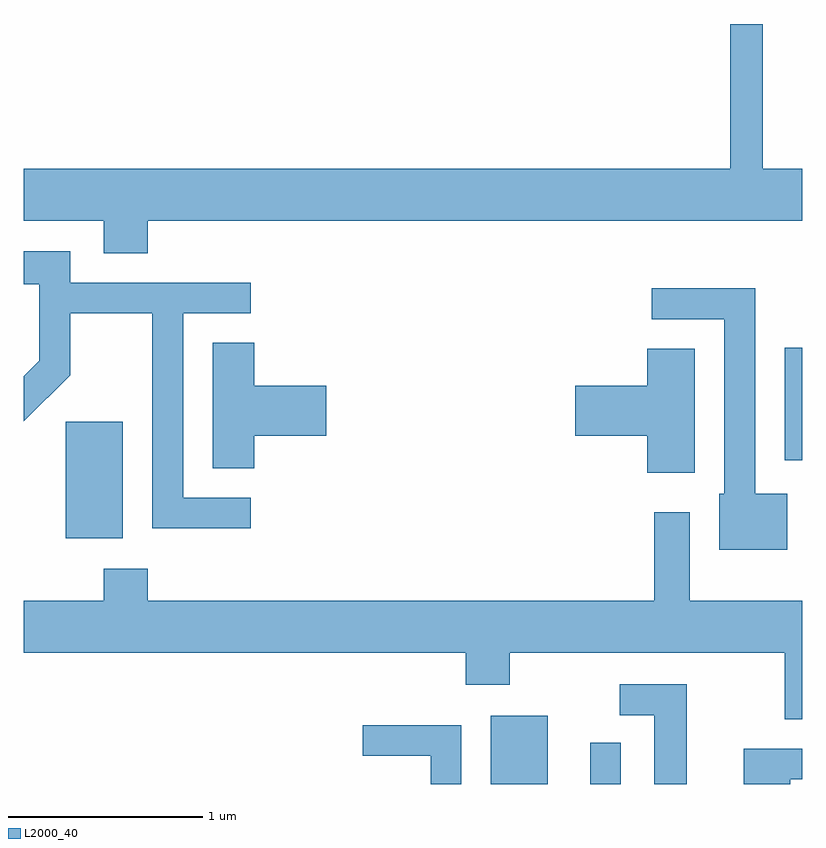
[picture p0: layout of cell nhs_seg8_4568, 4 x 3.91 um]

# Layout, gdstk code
import gdstk
lib = gdstk.Library(unit=1e-6, precision=1e-09)
def R(c, l, rs):  # rectangles x0, y0, x1, y1
    for r in rs: c.add(gdstk.rectangle(r[:2], r[2:], *l))
def P(c, l, *ps):  # polygons
    for p in ps: c.add(gdstk.Polygon(p, *l))
L2000_40 = (2000, 40)

nhs_seg8_4568 = lib.new_cell('nhs_seg8_4568')
R(nhs_seg8_4568, L2000_40, [(324.011,1902.342,324.304,1902.694), (324.521,1902.342,324.679,1902.553), (321.826,1903.606,322.119,1904.204), (325.521,1904.006,325.611,1904.584)])
P(nhs_seg8_4568, L2000_40, [(322.249,1905.236),(325.611,1905.236),(325.611,1905.504),(325.409,1905.504),(325.409,1906.248),(325.241,1906.248),(325.241,1905.504),(321.611,1905.504),(321.611,1905.236),(322.021,1905.236),(322.021,1905.071),(322.249,1905.071)],
  [(322.778,1903.814),(322.429,1903.814),(322.429,1904.761),(322.778,1904.761),(322.778,1904.919),(321.849,1904.919),(321.849,1905.079),(321.611,1905.079),(321.611,1904.911),(321.691,1904.911),(321.691,1904.517),(321.611,1904.437),(321.611,1904.206),(321.849,1904.444),(321.849,1904.761),(322.271,1904.761),(322.271,1903.656),(322.778,1903.656)],
  [(325.534,1903.834),(325.369,1903.834),(325.369,1904.889),(324.838,1904.889),(324.838,1904.731),(325.211,1904.731),(325.211,1903.834),(325.186,1903.834),(325.186,1903.546),(325.534,1903.546)],
  [(322.794,1904.131),(323.164,1904.131),(323.164,1904.389),(322.794,1904.389),(322.794,1904.609),(322.581,1904.609),(322.581,1903.966),(322.794,1903.966)],
  [(325.059,1904.579),(324.816,1904.579),(324.816,1904.389),(324.446,1904.389),(324.446,1904.131),(324.816,1904.131),(324.816,1903.941),(325.059,1903.941)],
  [(325.611,1903.284),(325.034,1903.284),(325.034,1903.739),(324.851,1903.739),(324.851,1903.284),(322.249,1903.284),(322.249,1903.449),(322.021,1903.449),(322.021,1903.284),(321.611,1903.284),(321.611,1903.016),(323.881,1903.016),(323.881,1902.851),(324.109,1902.851),(324.109,1903.016),(325.521,1903.016),(325.521,1902.676),(325.611,1902.676)],
  [(325.019,1902.854),(324.673,1902.854),(324.673,1902.696),(324.851,1902.696),(324.851,1902.342),(325.019,1902.342)],
  [(323.859,1902.644),(323.353,1902.644),(323.353,1902.486),(323.701,1902.486),(323.701,1902.342),(323.859,1902.342)],
  [(325.549,1902.366),(325.611,1902.366),(325.611,1902.524),(325.311,1902.524),(325.311,1902.342),(325.549,1902.342)])

lib.write_gds('nhs_seg8_4568.gds')
